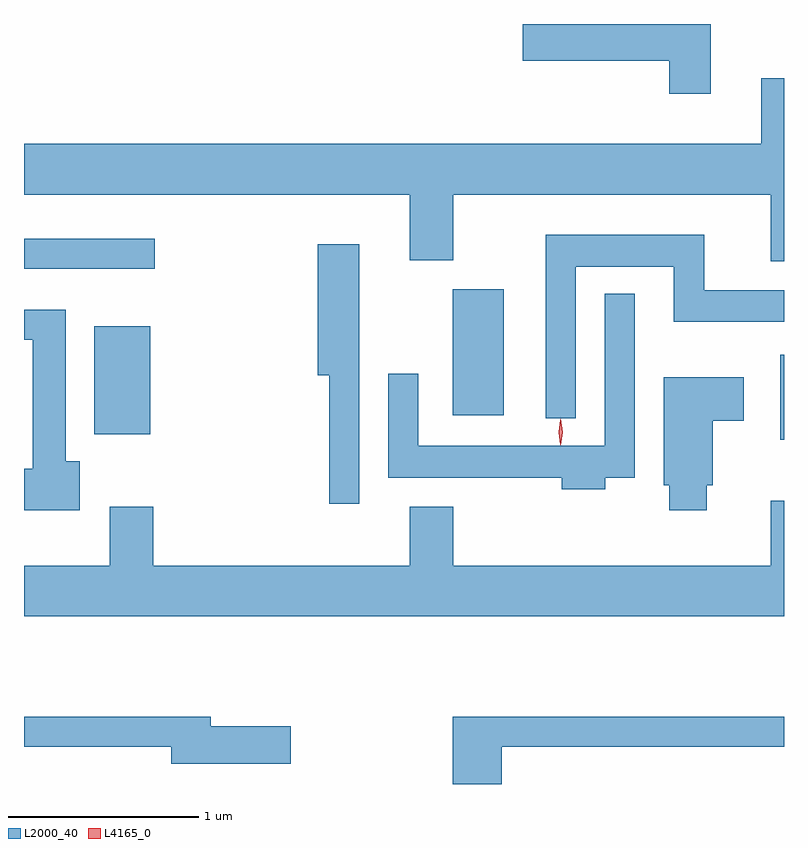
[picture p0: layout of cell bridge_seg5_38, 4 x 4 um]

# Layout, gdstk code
import gdstk
lib = gdstk.Library(unit=1e-6, precision=1e-09)
def R(c, l, rs):  # rectangles x0, y0, x1, y1
    for r in rs: c.add(gdstk.rectangle(r[:2], r[2:], *l))
def P(c, l, *ps):  # polygons
    for p in ps: c.add(gdstk.Polygon(p, *l))
L2000_40 = (2000, 40)
L4165_0 = (4165, 0)

bridge_seg5_38 = lib.new_cell('bridge_seg5_38')
R(bridge_seg5_38, L2000_40, [(1347.711,1468.826,1347.73,1469.274), (1344.101,1468.856,1344.394,1469.424), (1345.986,1468.956,1346.254,1469.619), (1343.73,1469.726,1344.418,1469.884)])
P(bridge_seg5_38, L2000_40, [(1347.344,1471.014),(1346.356,1471.014),(1346.356,1470.821),(1347.126,1470.821),(1347.126,1470.646),(1347.344,1470.646)],
  [(1347.73,1470.729),(1347.611,1470.729),(1347.611,1470.384),(1343.73,1470.384),(1343.73,1470.116),(1345.761,1470.116),(1345.761,1469.771),(1345.989,1469.771),(1345.989,1470.116),(1347.661,1470.116),(1347.661,1469.766),(1347.73,1469.766)],
  [(1346.634,1469.736),(1347.151,1469.736),(1347.151,1469.446),(1347.73,1469.446),(1347.73,1469.614),(1347.309,1469.614),(1347.309,1469.904),(1346.476,1469.904),(1346.476,1468.938),(1346.634,1468.938)],
  [(1345.494,1469.854),(1345.276,1469.854),(1345.276,1469.166),(1345.336,1469.166),(1345.336,1468.488),(1345.494,1468.488)],
  [(1346.789,1468.626),(1346.944,1468.626),(1346.944,1469.593),(1346.786,1469.593),(1346.786,1468.794),(1345.804,1468.794),(1345.804,1469.173),(1345.646,1469.173),(1345.646,1468.626),(1346.561,1468.626),(1346.561,1468.566),(1346.789,1468.566)],
  [(1344.024,1468.714),(1343.949,1468.714),(1343.949,1469.509),(1343.73,1469.509),(1343.73,1469.351),(1343.776,1469.351),(1343.776,1468.674),(1343.73,1468.674),(1343.73,1468.456),(1344.024,1468.456)],
  [(1347.324,1468.586),(1347.354,1468.586),(1347.354,1468.926),(1347.519,1468.926),(1347.519,1469.154),(1347.096,1469.154),(1347.096,1468.586),(1347.126,1468.586),(1347.126,1468.456),(1347.324,1468.456)],
  [(1347.73,1468.504),(1347.661,1468.504),(1347.661,1468.164),(1345.989,1468.164),(1345.989,1468.474),(1345.761,1468.474),(1345.761,1468.164),(1344.409,1468.164),(1344.409,1468.474),(1344.181,1468.474),(1344.181,1468.164),(1343.73,1468.164),(1343.73,1467.896),(1347.73,1467.896)],
  [(1345.134,1467.319),(1344.714,1467.319),(1344.714,1467.369),(1343.73,1467.369),(1343.73,1467.211),(1344.506,1467.211),(1344.506,1467.121),(1345.134,1467.121)],
  [(1346.244,1467.211),(1347.73,1467.211),(1347.73,1467.369),(1345.986,1467.369),(1345.986,1467.014),(1346.244,1467.014)])
P(bridge_seg5_38, L4165_0, [(1346.554,1468.797),(1346.545,1468.866),(1346.554,1468.936),(1346.555,1468.936),(1346.555,1468.936),(1346.565,1468.866),(1346.555,1468.797),(1346.555,1468.797)],
  [(1346.554,1468.799),(1346.553,1468.8),(1346.544,1468.866),(1346.553,1468.932),(1346.554,1468.933),(1346.554,1468.932),(1346.564,1468.866),(1346.554,1468.8)])

lib.write_gds('bridge_seg5_38.gds')
